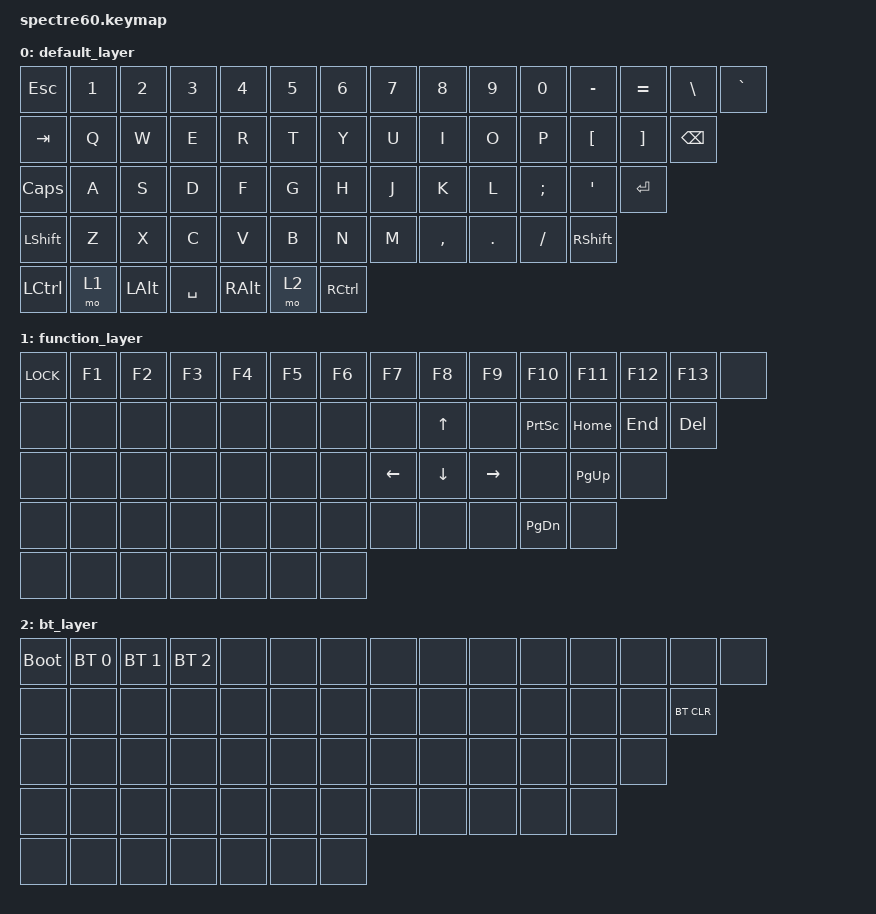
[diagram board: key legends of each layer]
#include <behaviors.dtsi>
#include <dt-bindings/zmk/keys.h>
#include <dt-bindings/zmk/bt.h>

/ {
    keymap {
        compatible = "zmk,keymap";

        default_layer {
// --------------------------------------------------------------------------------------------------------------------------------------------------------------------
// |   ESC   |   1    |    2   |    3    |    4    |    5    |   6    |   7   |   8    |   9   |   0    |    -    |   =   |   \    |  `  |
// |   TAB   |   Q    |    W   |    E    |    R    |    T    |   Y    |   U   |   I    |   O   |   P    |    [    |   ]   |  BSPC  |
// |   CAPS  |   A    |    S   |    D    |    F    |    G    |   H    |   J   |   K    |   L   |   ;    |    '    | ENTER |
// |  SHIFT  |   Z    |    X   |    C    |    V    |    B    |   N    |   M   |   ,    |   .   |   /    |  SHIFT  |
// |   CTRL  |   FN   |  LALT  |                      SPACE                   |  RALT  |  FN   |  CTRL  |
            bindings = <
    &kp ESC     &kp N1  &kp N2      &kp N3      &kp N4      &kp N5  &kp N6      &kp N7  &kp N8      &kp N9  &kp N0      &kp MINUS   &kp EQUAL   &kp BSLH   &kp GRAVE
    &kp TAB     &kp Q   &kp W       &kp E       &kp R       &kp T   &kp Y       &kp U   &kp I       &kp O   &kp P       &kp LBKT    &kp RBKT    &kp BSPC
    &kp CAPS    &kp A   &kp S       &kp D       &kp F       &kp G   &kp H       &kp J   &kp K       &kp L   &kp SEMI    &kp SQT     &kp RET
    &kp LSHFT   &kp Z   &kp X       &kp C       &kp V       &kp B   &kp N       &kp M   &kp COMMA   &kp DOT &kp FSLH    &kp RSHFT
    &kp LCTRL   &mo 1   &kp LALT    &kp SPACE   &kp RALT    &mo 2   &kp RCTRL
            >;
        };

        function_layer {
            bindings = <
    &kp K_LOCK  &kp F1  &kp F2  &kp F3  &kp F4  &kp F5  &kp F6  &kp F7      &kp F8      &kp F9      &kp F10     &kp F11     &kp F12 &kp F13   &none
    &none       &none   &none   &none   &none   &none   &none   &none       &kp UP      &none       &kp PSCRN   &kp HOME    &kp END &kp DEL
    &none       &none   &none   &none   &none   &none   &none   &kp LEFT    &kp DOWN    &kp RIGHT   &none       &kp PG_UP   &none
    &none       &none   &none   &none   &none   &none   &none   &none       &none       &none       &kp PG_DN   &none
    &none       &none   &none   &none   &none   &none   &none

            >;
        };

        bt_layer {
            bindings = <
        &bootloader &bt BT_SEL 0   &bt BT_SEL 1 &bt BT_SEL 2    &none   &none   &none   &none   &none   &none   &none   &none   &none   &none       &none
        &none       &none           &none       &none           &none   &none   &none   &none   &none   &none   &none   &none   &none   &bt BT_CLR
        &none       &none           &none       &none           &none   &none   &none   &none   &none   &none   &none   &none   &none
        &none       &none           &none       &none           &none   &none   &none   &none   &none   &none   &none   &none
        &none       &none           &none       &none           &none   &none   &none
            >;
        };
    };
};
